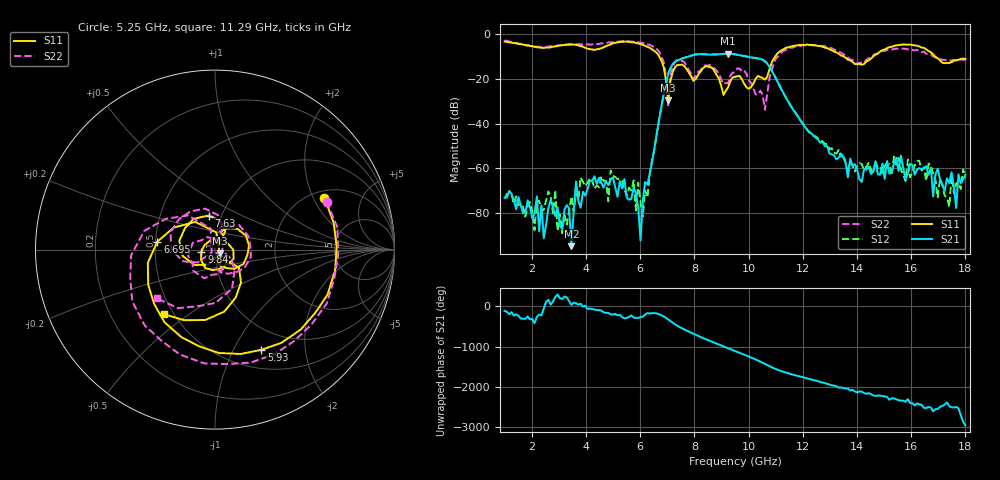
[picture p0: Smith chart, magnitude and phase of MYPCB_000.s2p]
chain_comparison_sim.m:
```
%CHAIN_COMPARISON_SIM Preselector / LNA chains ahead of the current system.
%   Four chains, each cascaded (Friis) into the current system (front end
%   -> SDR) and compared with it, one figure per chain:
%
%       ps_cs       preselector -> current system
%       lna_cs      LNA -> current system
%       ps_lna_cs   preselector -> LNA -> current system
%       lna_ps_cs   LNA -> preselector -> current system (reference only:
%                   the LNA is unprotected, see the README)
%
%   Model assumptions (see the README):
%     - Preselector: the average insertion loss across the passband of the
%       measured filter state, extended over the whole band (NF = IL,
%       gain = -IL).
%     - LNA: datasheet typical values. ZX60-63GLN+ below lnaSplit_MHz,
%       ZX60-06183LN+ from it. No LNA data below 1.8 GHz, so the LNA chains
%       have no result there.
%     - SDR: the noise figure at the payload's default gain.
%
%   Settings and pipeline only; the logic is in +rx.
%   Outputs go to processed_data/chain_comparison_sim/.

clear; close all;
root = fileparts(mfilename("fullpath"));

%% Settings
rawDir       = fullfile(root, "raw_data");
feFile       = fullfile(rawDir, "Geo18_SH_Vpol_nf_gain.csv");
sdrFile      = fullfile(rawDir, "Z3U_noise_figure_vs_gain_freq.csv");
planFile     = fullfile(rawDir, "downconverter_tuning_specs.txt");
psFile       = fullfile(rawDir, "MYPCB_000.s2p");
lnaLowFile   = fullfile(rawDir, "ZX60-63GLN+_datasheet.csv");
lnaHighFile  = fullfile(rawDir, "ZX60-06183LN+_datasheet.csv");
sdrGain_dB   = 50;                                 % QuadSAT payload default
passDrop_dB  = 3;                                  % passband: within this of minimum IL
lnaSplit_MHz = 6000;                               % low-band LNA below, high-band LNA from here
outDir       = fullfile(root, "processed_data", "chain_comparison_sim");

%% Load
fe     = rx.io.readFrontEnd(feFile);
sdr    = rx.io.readSdrNf(sdrFile, sdrGain_dB);
plan   = rx.io.readBandPlan(planFile);
sp     = rx.io.readS2p(psFile);
lnaLow = rx.io.readLna(lnaLowFile);
lnaHi  = rx.io.readLna(lnaHighFile);

%% Blocks, all on the front end's grid
f     = fe.f_MHz;
feBlk = rx.physics.onGrid(fe, f);
sdrRf = rx.physics.referToRf(sdr, fe, plan);

pb = rx.physics.passbandIl(sp, passDrop_dB);
ps = rx.physics.flatBlock("Preselector", pb.ilAvg_dB, f);

lna = rx.physics.spliceBlocks(rx.physics.onGrid(lnaLow, f), rx.physics.onGrid(lnaHi, f), ...
                              lnaSplit_MHz, "LNA");

%% Cascades
cs = rx.physics.friisCascade({feBlk, sdrRf}, Id="cs", Name="Current system");

chains = {
    "ps_cs",     "Preselector → current system",       {ps, feBlk, sdrRf}
    "lna_cs",    "LNA → current system",               {lna, feBlk, sdrRf}
    "ps_lna_cs", "Preselector → LNA → current system", {ps, lna, feBlk, sdrRf}
    "lna_ps_cs", "LNA → preselector → current system", {lna, ps, feBlk, sdrRf}
};
for k = size(chains, 1):-1:1
    results(k) = rx.physics.friisCascade(chains{k, 3}, Id=chains{k, 1}, Name=chains{k, 2});
end

%% Report
rx.report.printPassband(pb, psFile);
rx.report.printCascadeSummary(cs, fe);
rx.report.printCascadeSummary(results, fe, Baseline=cs);

%% Plots
figs = rx.plots.passband(sp, pb, "Preselector PCB, filter state 000");
for k = 1:numel(results)
    figs(end+1) = rx.plots.chainVsBaseline(results(k), cs, fe); %#ok<SAGROW>
end

%% Save
rx.io.writeCascadeCsv(fullfile(outDir, "chain_comparison_sim.csv"), fe, [cs results]);
rx.io.saveFigures(figs, outDir);
```
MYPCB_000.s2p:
#  HZ  S  RI  R  50.00
! Rohde & Schwarz Vector Network Analyzer
! Rohde-Schwarz,ZNA43-4Port,1332450044101949,2.80
! Created: UTC 10/19/2026, 4:40:39 PM
! freq[Hz]  re:S11  im:S11  re:S21  im:S21  re:S12  im:S12  re:S22  im:S22
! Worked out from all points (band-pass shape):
!   201 points, 1 GHz to 18 GHz, reference 50 ohm
!   highest |S21| = -8.78 dB at 9.245 GHz (marker M1); lowest = -94.8 dB at 3.465 GHz (marker M2)
!   |S21| within 3 dB of the highest: 7.372 GHz to 10.56 GHz (3.186 GHz wide, 35.5 % of centre)
!   lowest |S11| = -29.6 dB at 7.035 GHz (marker M3), VSWR 1.07, Z = 52.6 - j2.18 ohm
!   |S11| at or under -10 dB: 6.705 GHz to 10.98 GHz (4.279 GHz wide, 48.4 % of centre); 13.51 GHz to 14.59 GHz (1.082 GHz wide, 7.7 % of centre); 16.88 GHz to end of sweep
!   |S22| runs from -33.8 to -2.8 dB; largest |S21 - S12| = 0.024
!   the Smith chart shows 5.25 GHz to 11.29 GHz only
!   S11 on the Smith chart (normalised r, x): 5.25 GHz: 2.32, +2.45; 5.93 GHz: 0.72, -1.30; 6.695 GHz: 0.51, +0.05; 7.63 GHz: 0.87, +0.34; 9.84 GHz: 0.86, -0.02; 11.29 GHz: 0.45, -0.41
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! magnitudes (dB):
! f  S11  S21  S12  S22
! 1 GHz  -3.3  -73.2  -73.5  -2.8
! 3.465 GHz  -4.6  -94.8  -72.6  -4.5
! 5.25 GHz  -3.4  -65.7  -64.9  -3.4
! 5.93 GHz  -4.2  -77.4  -66.5  -3.6
! 6.695 GHz  -9.8  -38.4  -38.7  -7.8
! 7.035 GHz  -29.6  -17.9  -17.8  -32.6
! 7.63 GHz  -14.3  -10.6  -10.6  -12.6
! 9.245 GHz  -23.8  -8.8  -8.7  -22.0
! 9.5 GHz  -19.1  -9.1  -9.0  -17.0
! 9.84 GHz  -22.2  -9.9  -9.8  -16.3
! 11.29 GHz  -6.8  -26.3  -26.4  -7.5
! 18 GHz  -11.1  -63.0  -64.1  -11.5
